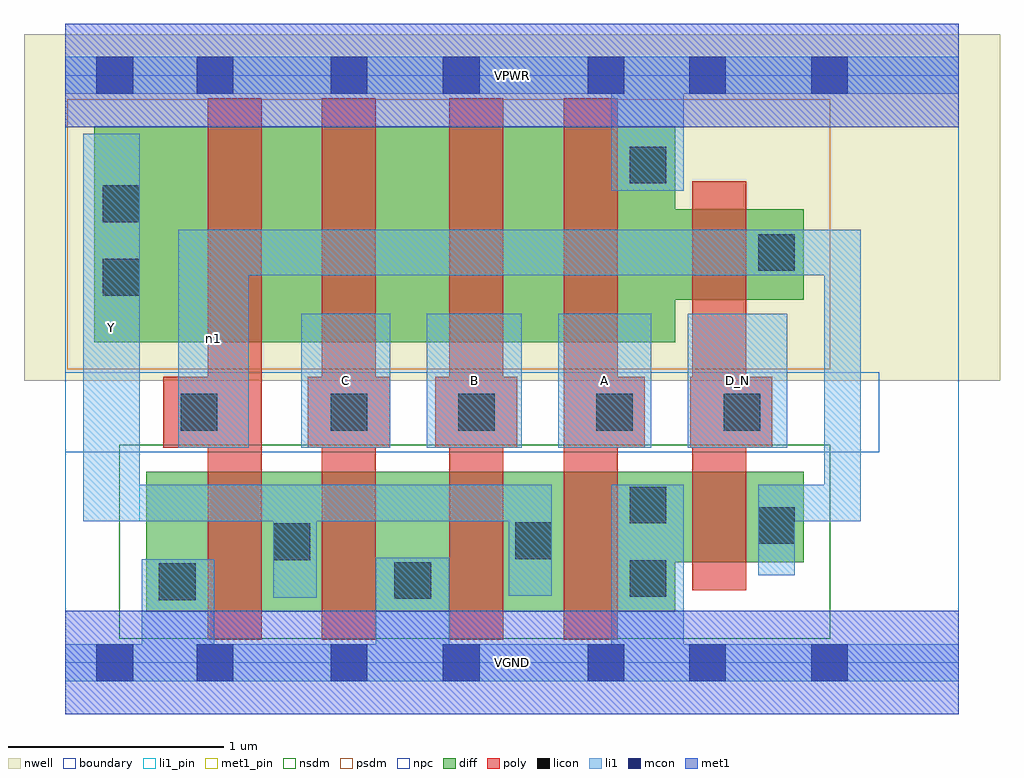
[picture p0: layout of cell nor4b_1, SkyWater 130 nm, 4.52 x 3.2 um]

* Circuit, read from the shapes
.subckt nor4b_1 A B C D_N VGND VPWR Y n1
XM1 Y n1 VGND VSUBS sky130_fd_pr__nfet_01v8 w=0.65 l=0.25
XM2 VGND C Y VSUBS sky130_fd_pr__nfet_01v8 w=0.65 l=0.25
XM3 Y B VGND VSUBS sky130_fd_pr__nfet_01v8 w=0.65 l=0.25
XM4 VGND A Y VSUBS sky130_fd_pr__nfet_01v8 w=0.65 l=0.25
XM5 n1 D_N VGND VSUBS sky130_fd_pr__nfet_01v8 w=0.42 l=0.25
XM6 n2 n1 Y n3 sky130_fd_pr__pfet_01v8 w=1 l=0.25
XM7 n4 C n2 n3 sky130_fd_pr__pfet_01v8 w=1 l=0.25
XM8 n5 B n4 n3 sky130_fd_pr__pfet_01v8 w=1 l=0.25
XM9 VPWR A n5 n3 sky130_fd_pr__pfet_01v8 w=1 l=0.25
XM10 n1 D_N VPWR n3 sky130_fd_pr__pfet_01v8 w=0.42 l=0.25
.ends

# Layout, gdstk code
import gdstk
lib = gdstk.Library(unit=1e-6, precision=1e-09)
def R(c, l, rs):  # rectangles x0, y0, x1, y1
    for r in rs: c.add(gdstk.rectangle(r[:2], r[2:], *l))
nwell = (64, 20)
diff = (65, 20)
poly = (66, 20)
licon = (66, 44)
li1_pin = (67, 16)
li1 = (67, 20)
mcon = (67, 44)
met1_pin = (68, 16)
met1 = (68, 20)
nsdm = (93, 44)
psdm = (94, 20)
npc = (95, 20)
boundary = (235, 4)

nor4b_1 = lib.new_cell('nor4b_1')
R(nor4b_1, nwell, [(-0.19,1.305,4.33,2.91), (0,1.305,4.14,2.91)])
R(nor4b_1, diff, [(0.375,0.235,2.825,0.885), (0.375,0.465,3.42,0.885), (0.135,1.485,2.825,2.485), (0.135,1.68,3.42,2.1)])
R(nor4b_1, poly, [(0.66,0.105,0.91,2.615), (1.19,0.105,1.44,2.615), (1.78,0.105,2.03,2.615), (2.31,0.105,2.56,2.615), (2.905,0.335,3.155,2.23), (0.455,0.995,0.91,1.325), (1.125,0.995,1.505,1.325), (1.715,0.995,2.095,1.325), (2.31,0.995,2.685,1.325), (2.895,0.995,3.275,1.325)])
R(nor4b_1, licon, [(0.435,0.29,0.605,0.46), (1.525,0.295,1.695,0.465), (2.615,0.305,2.785,0.475), (0.965,0.475,1.135,0.645), (2.085,0.48,2.255,0.65), (3.21,0.55,3.38,0.72), (2.615,0.645,2.785,0.815), (0.535,1.075,0.705,1.245), (1.23,1.075,1.4,1.245), (1.82,1.075,1.99,1.245), (2.46,1.075,2.63,1.245), (3.05,1.075,3.22,1.245), (0.175,1.7,0.345,1.87), (3.21,1.815,3.38,1.985), (0.175,2.04,0.345,2.21), (2.615,2.22,2.785,2.39)])
R(nor4b_1, li1_pin, [(0.085,0.655,0.345,2.45), (1.095,0.995,1.505,1.615), (1.675,0.995,2.115,1.615), (2.285,0.995,2.715,1.615), (2.885,0.995,3.345,1.615)])
R(nor4b_1, li1, [(0,-0.085,4.14,0.085), (0.355,-0.085,0.69,0.48), (1.44,-0.085,1.78,0.485), (2.53,-0.085,2.865,0.825), (0.965,0.3,1.165,0.825), (2.055,0.31,2.255,0.825), (3.21,0.405,3.38,0.825), (0.085,0.655,0.345,2.45), (0.085,0.655,2.255,0.825), (3.21,0.655,3.685,0.825), (3.515,0.655,3.685,2.005), (0.525,0.995,0.85,2.005), (1.095,0.995,1.505,1.615), (1.675,0.995,2.115,1.615), (2.285,0.995,2.715,1.615), (2.885,0.995,3.345,1.615), (0.525,1.795,3.685,2.005), (2.53,2.185,2.865,2.805), (0,2.635,4.14,2.805)])
R(nor4b_1, mcon, [(0.145,-0.085,0.315,0.085), (0.61,-0.085,0.78,0.085), (1.23,-0.085,1.4,0.085), (1.75,-0.085,1.92,0.085), (2.42,-0.085,2.59,0.085), (2.89,-0.085,3.06,0.085), (3.455,-0.085,3.625,0.085), (0.145,2.635,0.315,2.805), (0.61,2.635,0.78,2.805), (1.23,2.635,1.4,2.805), (1.75,2.635,1.92,2.805), (2.42,2.635,2.59,2.805), (2.89,2.635,3.06,2.805), (3.455,2.635,3.625,2.805)])
R(nor4b_1, met1_pin, [(0,-0.24,4.14,0.24), (0,2.48,4.14,2.96)])
R(nor4b_1, met1, [(0,-0.24,4.14,0.24), (0,2.48,4.14,2.96)])
R(nor4b_1, nsdm, [(0.25,0.11,3.545,1.01)])
R(nor4b_1, psdm, [(0.01,1.36,3.545,2.61)])
R(nor4b_1, npc, [(0,0.975,3.77,1.345)])
R(nor4b_1, boundary, [(0,0,4.14,2.72)])
nor4b_1.add(gdstk.Label('A', (2.5,1.305), layer=67, texttype=5))
nor4b_1.add(gdstk.Label('B', (1.895,1.305), layer=67, texttype=5))
nor4b_1.add(gdstk.Label('C', (1.3,1.305), layer=67, texttype=5))
nor4b_1.add(gdstk.Label('D_N', (3.115,1.305), layer=67, texttype=5))
nor4b_1.add(gdstk.Label('Y', (0.215,1.552), layer=67, texttype=5))
nor4b_1.add(gdstk.Label('n1', (0.687,1.5), layer=67, texttype=5))
nor4b_1.add(gdstk.Label('VPWR', (2.07,2.72), layer=68, texttype=5))
nor4b_1.add(gdstk.Label('VGND', (2.07,0), layer=68, texttype=5))
nor4b_1.add(gdstk.Label('A', (2.5,1.305), layer=67, texttype=16))
nor4b_1.add(gdstk.Label('B', (1.895,1.305), layer=67, texttype=16))
nor4b_1.add(gdstk.Label('C', (1.3,1.305), layer=67, texttype=16))
nor4b_1.add(gdstk.Label('D_N', (3.115,1.305), layer=67, texttype=16))
nor4b_1.add(gdstk.Label('Y', (0.215,1.552), layer=67, texttype=16))
nor4b_1.add(gdstk.Label('VPWR', (2.07,2.72), layer=68, texttype=16))
nor4b_1.add(gdstk.Label('VGND', (2.07,0), layer=68, texttype=16))

lib.write_gds('nor4b_1.gds')
